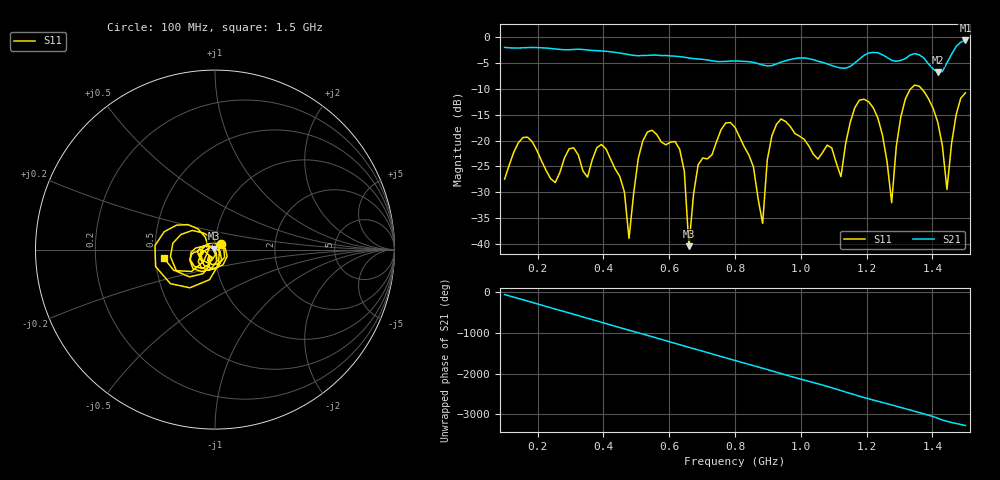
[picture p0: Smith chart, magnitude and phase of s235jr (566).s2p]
! NanoVNA-App
! Date: 2025-09-25 15:08:34
! Start: 100MHz Stop: 1,5GHz Points: 101
! S-Parameter data: F S11 S21 S12 S22
# Hz S RI R 50
!  Frequency  S11_Real  S11_Imag  S21_Real  S21_Imag  S12_Real  S12_Imag  S22_Real  S22_Imag
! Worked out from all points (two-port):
!   101 points, 100 MHz to 1.5 GHz, reference 50 ohm
!   highest |S21| = -0.62 dB at 1.5 GHz (marker M1); lowest = -6.8 dB at 1.416 GHz (marker M2)
!   |S21| within 3 dB of the highest: start of sweep to 605.1 MHz; 1.19 GHz to 1.254 GHz (64.28 MHz wide, 5.26 % of centre) (the widest 2 of 4)
!   lowest |S11| = -40.5 dB at 660 MHz (marker M3), VSWR 1.02, Z = 49.2 + j0.543 ohm
!   |S11| at or under -10 dB: start of sweep to 1.334 GHz; 1.367 GHz to end of sweep
!   S12 and S22 are empty: the file has one direction only
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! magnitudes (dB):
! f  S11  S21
! 100 MHz  -27.5  -2.0
! 156 MHz  -19.4  -2.0
! 338 MHz  -25.9  -2.4
! 408 MHz  -21.6  -2.7
! 478 MHz  -39.0  -3.4
! 520 MHz  -20.1  -3.5
! 576 MHz  -20.3  -3.5
! 632 MHz  -21.7  -3.7
! 660 MHz  -40.5  -4.0
! 688 MHz  -24.7  -4.2
! 800 MHz  -17.5  -4.6
! 884 MHz  -36.1  -5.4
! 926 MHz  -16.9  -5.1
! 1.038 GHz  -22.7  -4.3
! 1.122 GHz  -27.0  -6.0
! 1.164 GHz  -13.6  -5.0
! 1.206 GHz  -12.5  -3.0
! 1.276 GHz  -32.1  -4.5
! 1.332 GHz  -10.1  -3.4
! 1.416 GHz  -16.4  -6.8
! 1.444 GHz  -29.5  -5.0
! 1.5 GHz  -10.8  -0.6
